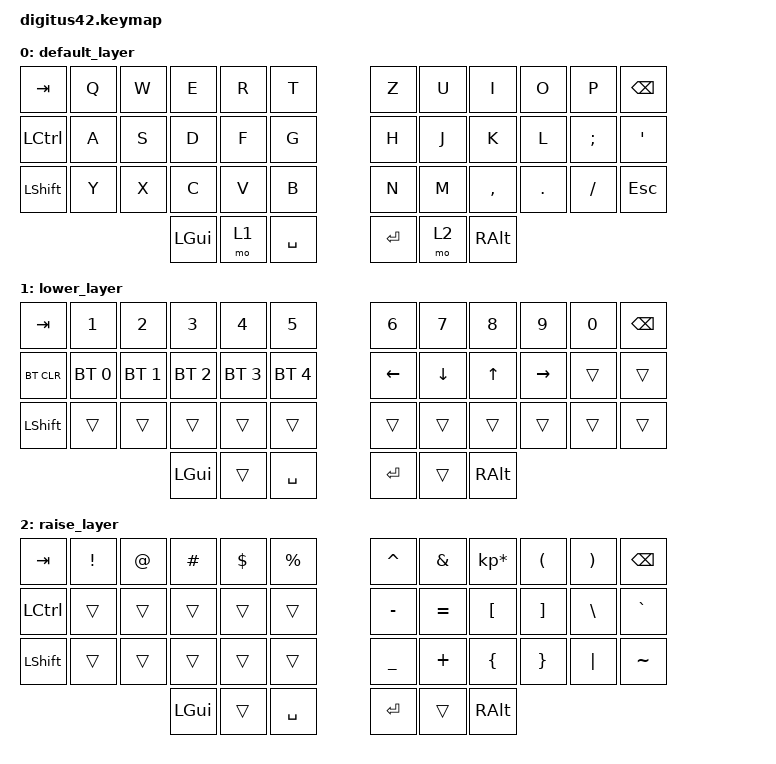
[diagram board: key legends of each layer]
#include <behaviors.dtsi>
#include <dt-bindings/zmk/keys.h>
#include <dt-bindings/zmk/bt.h>


#define DE_A        A                  // A
#define DE_B        B                  // B
#define DE_C        C                  // C
#define DE_D        D                  // D
#define DE_E        E                  // E
#define DE_F        F                  // F
#define DE_G        G                  // G
#define DE_H        H                  // H
#define DE_I        I                  // I
#define DE_J        J                  // J
#define DE_K        K                  // K
#define DE_L        L                  // L
#define DE_M        M                  // M
#define DE_N        N                  // N
#define DE_O        O                  // O
#define DE_P        P                  // P
#define DE_Q        Q                  // Q
#define DE_R        R                  // R
#define DE_S        S                  // S
#define DE_T        T                  // T
#define DE_U        U                  // U
#define DE_V        V                  // V
#define DE_W        W                  // W
#define DE_X        X                  // X
#define DE_Y        Z                  // Y
#define DE_Z        Y                  // Z

#define DE_DOT      PERIOD             // .
#define DE_COMM     COMMA              // ,
#define DE_MINS     SLASH              // -

#define DE_AE       SINGLE_QUOTE       // Ä
#define DE_OE       SEMICOLON          // Ö
#define DE_UE       LEFT_BRACKET       // Ü
#define DE_SS       MINUS              // ß

#define DE_CIRC     GRAVE             // ^ (dead)
#define DE_EXLM     LS(NUMBER_1)      // !
#define DE_DQUO     LS(NUMBER_2)      // "
#define DE_DLR      LS(NUMBER_4)      // $
#define DE_AMPR     LS(NUMBER_6)      // &
#define DE_PERC     LS(NUMBER_5)      // %

#define DE_PIPE     RA(DE_LABK)       // |
#define DE_AT       RA(DE_Q)          // @
#define DE_TILD     RA(DE_PLUS)       // ~
#define DE_EURO     RA(DE_E)          // €
#define DE_PLUS     RIGHT_BRACKET     // +
#define DE_ASTR     LS(DE_PLUS)       // *
#define DE_DEG      LS(DE_CIRC)       // °
#define DE_SECT     LS(NUMBER_3)      // §

#define DE_LPRN     LS(NUMBER_8)      // (
#define DE_RPRN     LS(NUMBER_9)      // )
#define DE_LCBR     RA(NUMBER_7)      // {
#define DE_RCBR     RA(NUMBER_0)      // }
#define DE_LBRC     RA(NUMBER_8)      // [
#define DE_RBRC     RA(NUMBER_9)      // ]
#define DE_LABK     NON_US_BACKSLASH  // <
#define DE_RABK     LS(DE_LABK)       // >
#define DE_ACUT     EQUAL             // ´ (dead)
#define DE_HASH     NON_US_HASH       // #
#define DE_COLN     LS(DE_DOT)        // :
#define DE_SLSH     LS(NUMBER_7)      // /
#define DE_EQL      LS(NUMBER_0)      // =
#define DE_QUES     LS(DE_SS)         // ?
#define DE_GRV      LS(DE_ACUT)       // ` (dead)
#define DE_QUOT     LS(DE_HASH)       // '
#define DE_SCLN     LS(DE_COMM)       // ;
#define DE_UNDS     LS(DE_MINS)       // _
#define DE_BSLS     RA(DE_SS)         // (backslash)

/ {
        keymap {
                compatible = "zmk,keymap";

                default_layer {
// -----------------------------------------------------------------------------------------
// |  TAB |  Q  |  W  |  E  |  R  |  T  |   |  Z  |  U   |  I  |  O  |  P  | BKSP |
// | CTRL |  A  |  S  |  D  |  F  |  G  |   |  H  |  J   |  K  |  L  |  ;  |  '   |
// | SHFT |  Y  |  X  |  C  |  V  |  B  |   |  N  |  M   |  ,  |  .  |  /  | ESC  |
//                    | GUI | LWR | SPC |   | ENT | RSE  | ALT |
                        bindings = <
   &kp TAB   &kp Q &kp W &kp E &kp R &kp T   &kp Z &kp U  &kp I     &kp O   &kp P    &kp BSPC
   &kp LCTRL &kp A &kp S &kp D &kp F &kp G   &kp H &kp J  &kp K     &kp L   &kp SEMI &kp SQT
   &kp LSHFT &kp Y &kp X &kp C &kp V &kp B   &kp N &kp M  &kp COMMA &kp DOT &kp FSLH &kp ESC
                  &kp LGUI &mo 1 &kp SPACE   &kp RET &mo 2 &kp RALT
                        >;
                };
                lower_layer {
// -----------------------------------------------------------------------------------------
// |  TAB |  1  |  2  |  3  |  4  |  5  |   |  6  |  7  |  8  |  9  |  0  | BKSP |
// | BTCLR| BT1 | BT2 | BT3 | BT4 | BT5 |   | LFT | DWN |  UP | RGT |     |      |
// | SHFT |     |     |     |     |     |   |     |     |     |     |     |      |
//                    | GUI |     | SPC |   | ENT |     | ALT |
                        bindings = <
   &kp TAB    &kp N1       &kp N2       &kp N3       &kp N4       &kp N5         &kp N6   &kp N7   &kp N8 &kp N9    &kp N0 &kp BSPC
   &bt BT_CLR &bt BT_SEL 0 &bt BT_SEL 1 &bt BT_SEL 2 &bt BT_SEL 3 &bt BT_SEL 4   &kp LEFT &kp DOWN &kp UP &kp RIGHT &trans &trans
   &kp LSHFT  &trans       &trans       &trans       &trans       &trans         &trans   &trans   &trans &trans    &trans &trans
                          	        &kp LGUI     &trans       &kp SPACE      &kp RET  &trans   &kp RALT
                        >;
                };

                raise_layer {
// -----------------------------------------------------------------------------------------
// |  TAB |  !  |  @  |  #  |  $  |  %  |   |  ^  |  &  |  *  |  (  |  )  | BKSP |
// | CTRL |     |     |     |     |     |   |  -  |  =  |  [  |  ]  |  \  |  `   |
// | SHFT |     |     |     |     |     |   |  _  |  +  |  {  |  }  | "|" |  ~   |
//                    | GUI |     | SPC |   | ENT |     | ALT |
                        bindings = <
   &kp  TAB  &kp EXCL &kp AT &kp HASH &kp DLLR &kp PRCNT   &kp CARET &kp AMPS  &kp KP_MULTIPLY &kp LPAR &kp RPAR &kp BSPC
   &kp LCTRL &trans   &trans &trans   &trans   &trans      &kp MINUS &kp EQUAL &kp LBKT        &kp RBKT &kp BSLH &kp GRAVE
   &kp LSHFT &trans   &trans &trans   &trans   &trans      &kp UNDER &kp PLUS  &kp LBRC        &kp RBRC &kp PIPE &kp TILDE
                    	     &kp LGUI &trans   &kp SPACE   &kp RET   &trans    &kp RALT
                        >;
                };
        };
};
